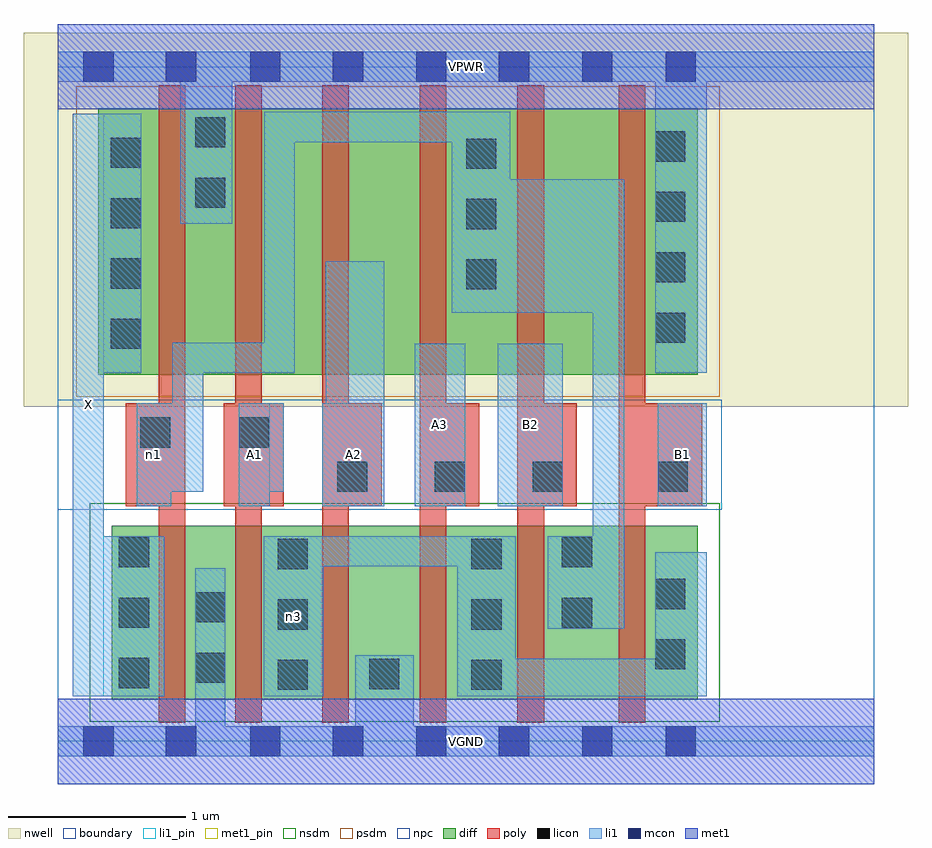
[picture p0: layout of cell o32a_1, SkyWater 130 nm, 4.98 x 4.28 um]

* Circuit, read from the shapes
.subckt o32a_1 A1 A2 A3 B1 B2 VGND VPWR X n1 n3
XM1 VGND n1 X VSUBS sky130_fd_pr__nfet_01v8 w=0.98 l=0.15
XM2 n3 A1 VGND VSUBS sky130_fd_pr__nfet_01v8 w=0.98 l=0.15
XM3 VGND A2 n3 VSUBS sky130_fd_pr__nfet_01v8 w=0.98 l=0.15
XM4 n3 A3 VGND VSUBS sky130_fd_pr__nfet_01v8 w=0.98 l=0.15
XM5 n1 B2 n3 VSUBS sky130_fd_pr__nfet_01v8 w=0.98 l=0.15
XM6 n3 B1 n1 VSUBS sky130_fd_pr__nfet_01v8 w=0.98 l=0.15
XM7 VPWR n1 X n2 sky130_fd_pr__pfet_01v8 w=1.5 l=0.15
XM8 n4 A1 VPWR n2 sky130_fd_pr__pfet_01v8 w=1.5 l=0.15
XM9 n5 A2 n4 n2 sky130_fd_pr__pfet_01v8 w=1.5 l=0.15
XM10 n1 A3 n5 n2 sky130_fd_pr__pfet_01v8 w=1.5 l=0.15
XM11 n6 B2 n1 n2 sky130_fd_pr__pfet_01v8 w=1.5 l=0.15
XM12 VPWR B1 n6 n2 sky130_fd_pr__pfet_01v8 w=1.5 l=0.15
.ends

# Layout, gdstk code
import gdstk
lib = gdstk.Library(unit=1e-6, precision=1e-09)
def R(c, l, rs):  # rectangles x0, y0, x1, y1
    for r in rs: c.add(gdstk.rectangle(r[:2], r[2:], *l))
def A(c, l, x, y, w, h, nx, ny, dx, dy):  # array of equal rectangles
    R(c, l, [(x+i*dx, y+j*dy, x+i*dx+w, y+j*dy+h) for i in range(nx) for j in range(ny)])
nwell = (64, 20)
diff = (65, 20)
poly = (66, 20)
licon = (66, 44)
li1_pin = (67, 16)
li1 = (67, 20)
mcon = (67, 44)
met1_pin = (68, 16)
met1 = (68, 20)
nsdm = (93, 44)
psdm = (94, 20)
npc = (95, 20)
boundary = (235, 4)

o32a_1 = lib.new_cell('o32a_1')
R(o32a_1, nwell, [(-0.19,1.885,4.79,3.99), (0,1.885,4.6,3.99)])
R(o32a_1, diff, [(0.305,0.235,3.605,1.215), (0.23,2.065,3.605,3.565)])
A(o32a_1, poly, 1.49, 0.105, 0.15, 3.59, 3, 1, 0.55, 0)
A(o32a_1, poly, 1.49, 1.325, 0.335, 0.58, 3, 1, 0.55, 0)
R(o32a_1, poly, [(0.57,0.105,0.72,3.695), (1,0.105,1.15,3.695), (3.16,0.105,3.31,3.695), (0.385,1.325,0.72,1.905), (0.935,1.325,1.275,1.905), (3.16,1.325,3.63,1.905)])
A(o32a_1, licon, 1.24, 0.29, 0.17, 0.17, 1, 3, 0, 0.34)
A(o32a_1, licon, 2.33, 0.29, 0.17, 0.17, 1, 3, 0, 0.34)
A(o32a_1, licon, 0.345, 0.3, 0.17, 0.17, 1, 3, 0, 0.34)
A(o32a_1, licon, 1.575, 1.405, 0.17, 0.17, 3, 1, 0.55, 0)
A(o32a_1, licon, 0.3, 2.21, 0.17, 0.17, 1, 4, 0, 0.34)
A(o32a_1, licon, 3.365, 2.245, 0.17, 0.17, 1, 4, 0, 0.34)
A(o32a_1, licon, 2.3, 2.545, 0.17, 0.17, 1, 3, 0, 0.34)
R(o32a_1, licon, [(1.755,0.295,1.925,0.465), (0.775,0.33,0.945,0.5), (3.365,0.405,3.535,0.575), (2.84,0.64,3.01,0.81), (0.775,0.67,0.945,0.84), (3.365,0.745,3.535,0.915), (2.84,0.98,3.01,1.15), (3.38,1.405,3.55,1.575), (0.465,1.655,0.635,1.825), (1.02,1.655,1.19,1.825), (0.775,3.005,0.945,3.175), (0.775,3.345,0.945,3.515)])
R(o32a_1, li1_pin, [(0.085,0.255,0.26,3.535), (1.02,1.325,1.195,1.905), (1.49,1.325,1.84,1.905), (2.01,1.325,2.295,2.24), (2.48,1.325,2.845,2.24), (3.38,1.325,3.655,1.905)])
R(o32a_1, li1, [(0,-0.085,4.6,0.085), (0.775,-0.085,0.945,0.975), (1.675,-0.085,2.005,0.485), (0.085,0.255,0.26,3.535), (0.085,0.255,0.6,1.155), (1.16,0.255,1.495,1.155), (2.25,0.255,3.655,0.465), (2.25,0.255,2.58,1.155), (3.365,0.255,3.655,1.065), (2.76,0.635,3.19,1.155), (3.015,0.635,3.19,3.165), (1.16,0.985,2.58,1.155), (0.445,1.325,0.64,1.905), (1.02,1.325,1.195,1.905), (1.49,1.325,1.84,1.905), (1.51,1.325,1.84,2.705), (2.01,1.325,2.295,2.24), (2.48,1.325,2.845,2.24), (3.38,1.325,3.655,1.905), (0.445,1.405,0.82,1.905), (0.645,1.405,0.82,2.245), (1.02,1.405,1.275,1.905), (0.085,2.075,0.47,3.535), (0.645,2.075,1.335,2.245), (1.165,2.075,1.335,3.545), (3.365,2.075,3.655,3.885), (2.22,2.415,3.19,3.165), (2.22,2.415,2.55,3.545), (0.69,2.915,0.985,3.885), (1.165,3.375,2.55,3.545), (0,3.715,4.6,3.885)])
A(o32a_1, mcon, 2.485, -0.085, 0.17, 0.17, 3, 2, 0.47, 3.8)
R(o32a_1, mcon, [(0.145,-0.085,0.315,0.085), (0.61,-0.085,0.78,0.085), (1.085,-0.085,1.255,0.085), (1.55,-0.085,1.72,0.085), (2.02,-0.085,2.19,0.085), (0.145,3.715,0.315,3.885), (0.61,3.715,0.78,3.885), (1.085,3.715,1.255,3.885), (1.55,3.715,1.72,3.885), (2.02,3.715,2.19,3.885)])
R(o32a_1, met1_pin, [(0,-0.24,4.6,0.24), (0,3.56,4.6,4.04)])
R(o32a_1, met1, [(0,-0.24,4.6,0.24), (0,3.56,4.6,4.04)])
R(o32a_1, nsdm, [(0.18,0.11,3.73,1.34)])
R(o32a_1, psdm, [(0.105,1.94,3.73,3.69)])
R(o32a_1, npc, [(0,1.305,3.74,1.925)])
R(o32a_1, boundary, [(0,0,4.6,3.8)])
o32a_1.add(gdstk.Label('A1', (1.107,1.615), layer=67, texttype=5))
o32a_1.add(gdstk.Label('A2', (1.665,1.615), layer=67, texttype=5))
o32a_1.add(gdstk.Label('A3', (2.152,1.782), layer=67, texttype=5))
o32a_1.add(gdstk.Label('B1', (3.517,1.615), layer=67, texttype=5))
o32a_1.add(gdstk.Label('B2', (2.662,1.782), layer=67, texttype=5))
o32a_1.add(gdstk.Label('X', (0.172,1.895), layer=67, texttype=5))
o32a_1.add(gdstk.Label('n3', (1.327,0.705), layer=67, texttype=5))
o32a_1.add(gdstk.Label('n1', (0.542,1.615), layer=67, texttype=5))
o32a_1.add(gdstk.Label('VPWR', (2.3,3.8), layer=68, texttype=5))
o32a_1.add(gdstk.Label('VGND', (2.3,0), layer=68, texttype=5))
o32a_1.add(gdstk.Label('A1', (1.107,1.615), layer=67, texttype=16))
o32a_1.add(gdstk.Label('A2', (1.665,1.615), layer=67, texttype=16))
o32a_1.add(gdstk.Label('A3', (2.152,1.782), layer=67, texttype=16))
o32a_1.add(gdstk.Label('B1', (3.517,1.615), layer=67, texttype=16))
o32a_1.add(gdstk.Label('B2', (2.662,1.782), layer=67, texttype=16))
o32a_1.add(gdstk.Label('X', (0.172,1.895), layer=67, texttype=16))
o32a_1.add(gdstk.Label('VPWR', (2.3,3.8), layer=68, texttype=16))
o32a_1.add(gdstk.Label('VGND', (2.3,0), layer=68, texttype=16))

lib.write_gds('o32a_1.gds')
